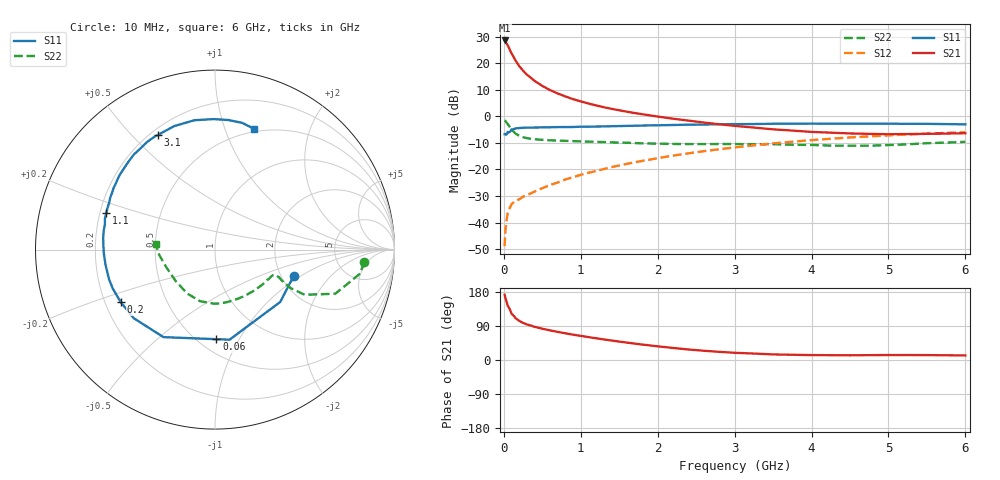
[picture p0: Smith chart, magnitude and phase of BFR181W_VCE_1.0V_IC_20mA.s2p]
! Infineon Technologies  Discrete & RF Semiconductors
! BFR181W
! VCE =  1.0 V,  IC =  20 mA
! Common Emitter S-Parameters:  Jan 2017
# GHz  S  MA  R  50
!  f  S11  S21  S12  S22
! GHz  MAG  ANG  MAG  ANG  MAG  ANG  MAG  ANG
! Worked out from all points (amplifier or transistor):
!   77 points, 10 MHz to 6 GHz, reference 50 ohm
!   highest |S21| = 28.6 dB at 10 MHz (marker M1)
!   |S21| within 3 dB of that: start of sweep to 69.89 MHz
!   unconditionally stable (mu >= 1): start of sweep to 13.37 MHz; 210.7 MHz to end of sweep
!   at 130 MHz: K = 0.71, MSG = 27.3 dB, |S12| = -32.3 dB
!   at 2.2 GHz: K = 1.36, MAG = 3.4 dB, |S12| = -14.8 dB
!   at 6 GHz: K = 1.25, MAG = -3.2 dB, |S12| = -6.0 dB
!   S11 on the Smith chart (normalised r, x): 10 MHz: 2.33, -0.88; 60 MHz: 0.61, -0.81; 200 MHz: 0.26, -0.24; 1.1 GHz: 0.23, +0.16; 3.1 GHz: 0.23, +0.60; 6 GHz: 0.47, +1.27
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0.01  0.462 -18.7  26.77 172.5  0.0036 73.0  0.8339 -4.7
0.02  0.466 -38.7  25.81 163.7  0.0071 77.6  0.8201 -9.3
0.05  0.5085 -80.8  21.82 143.4  0.0151 61.1  0.7141 -20.1
0.06  0.4991 -89.1  20.34 140.3  0.0165 58.3  0.6827 -21.2
0.1  0.5659 -120.5  15.32 122.2  0.0222 50.8  0.5601 -26.7
0.15  0.5928 -139.9  11.32 110.8  0.0255 48.4  0.4754 -27.0
0.2  0.6011 -150.9  8.822 103.2  0.0274 48.4  0.43 -25.7
0.25  0.6093 -158.9  7.211 97.9  0.0307 49.9  0.405 -24.5
0.3  0.6131 -164.3  6.075 93.9  0.0328 51.4  0.3879 -23.4
0.4  0.6158 -172.1  4.632 87.5  0.0383 56.1  0.3701 -22.7
0.5  0.6195 -177.9  3.724 82.5  0.0444 60.0  0.3605 -22.9
0.6  0.6224 177.8  3.124 78.2  0.0509 62.7  0.3539 -23.7
0.7  0.6265 173.9  2.687 74.2  0.0568 65.4  0.349 -24.8
0.9  0.6294 167.1  2.105 66.9  0.0715 67.9  0.3416 -28.3
1.1  0.6386 161.4  1.742 60.4  0.0867 70.2  0.3345 -32.3
1.5  0.6549 151.3  1.298 48.6  0.1188 71.4  0.3198 -42.2
2.1  0.6819 137.0  0.945 34.0  0.1724 69.4  0.3038 -60.7
2.6  0.7 126.5  0.764 24.4  0.2206 65.8  0.3002 -77.8
3.1  0.7139 116.3  0.642 18.2  0.2697 60.8  0.2992 -93.9
4.1  0.7281 97.4  0.502 12.8  0.365 49.3  0.2854 -125.7
5.1  0.7244 82.9  0.462 13.1  0.4448 36.9  0.2911 -162.7
6  0.7074 72.0  0.48 12.0  0.5023 26.3  0.3315 174.7
